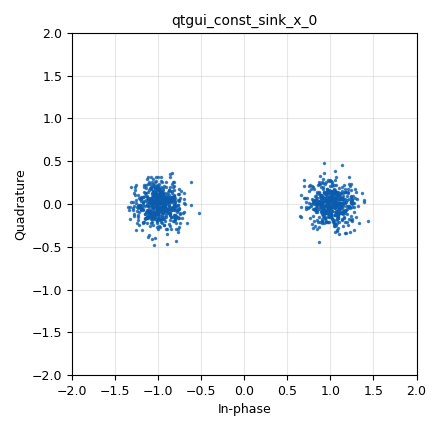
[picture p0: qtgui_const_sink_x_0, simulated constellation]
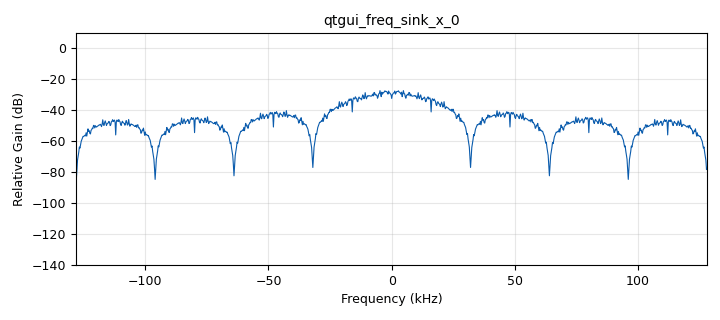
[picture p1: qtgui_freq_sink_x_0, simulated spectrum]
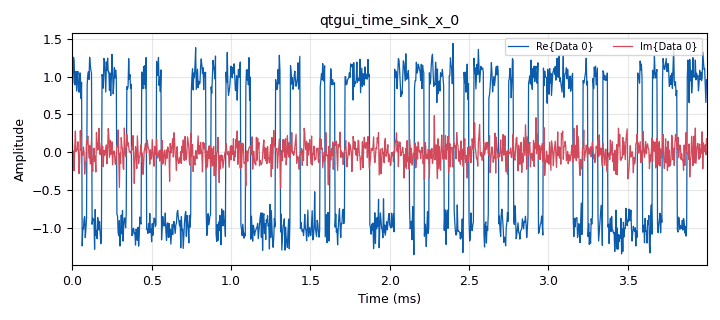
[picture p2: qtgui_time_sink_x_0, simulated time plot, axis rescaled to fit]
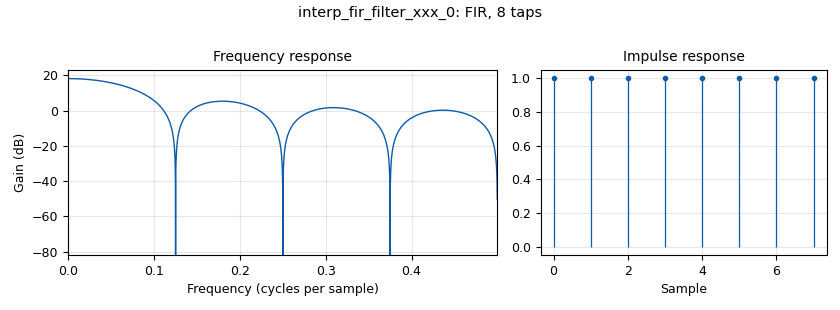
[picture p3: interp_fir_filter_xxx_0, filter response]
options:
  parameters:
    author: radiogis_director
    generate_options: qt_gui
    id: top_block
    output_language: python
    title: top_block
  states: {}

blocks:
- name: M
  id: variable
  parameters:
    value: len(tabla_de_verdad_constelacion )
  states: {}
- name: Rb
  id: variable
  parameters:
    value: Rs*bps
  states: {}
- name: Rs
  id: variable
  parameters:
    value: '32000'
  states: {}
- name: Sps
  id: variable
  parameters:
    value: '8'
  states: {}
- name: bps
  id: variable
  parameters:
    value: int(math.log(M,2))
  states: {}
- name: fc
  id: variable
  parameters:
    value: 500e3
  states: {}
- name: h
  id: variable
  parameters:
    value: '[1]*Sps'
  states: {}
- name: rx_lp_cutoff
  id: variable
  parameters:
    value: 60e3
  states: {}
- name: rx_lp_trans
  id: variable
  parameters:
    value: 20e3
  states: {}
- name: samp_rate
  id: variable
  parameters:
    value: Rs*Sps
  states: {}
- name: samp_rate_0
  id: variable
  parameters:
    value: 256e3
  states: {}
- name: samp_rate_tx
  id: variable
  parameters:
    value: samp_rate_0 * Sps
  states: {}
- name: symbolrate
  id: variable
  parameters:
    value: samp_rate/Sps
  states: {}
- name: tabla_de_verdad_constelacion
  id: variable
  parameters:
    value: (1+0j, -1+0j)
  states: {}
- name: tx_bp_highcut
  id: variable
  parameters:
    value: fc + 80e3
  states: {}
- name: tx_bp_lowcut
  id: variable
  parameters:
    value: fc - 80e3
  states: {}
- name: tx_bp_trans
  id: variable
  parameters:
    value: 20e3
  states: {}
- name: analog_noise_source_x_0
  id: analog_noise_source_x
  parameters:
    amp: '0.2'
    noise_type: analog.GR_GAUSSIAN
    seed: '0'
    type: complex
  states: {}
- name: analog_random_source_x_0
  id: analog_random_source_x
  parameters:
    max: '2'
    min: '0'
    num_samps: '1000'
    repeat: 'True'
    type: byte
  states: {}
- name: blocks_add_xx_0
  id: blocks_add_xx
  parameters:
    type: complex
  states: {}
- name: blocks_pack_k_bits_bb_0
  id: blocks_pack_k_bits_bb
  parameters:
    k: bps
  states: {}
- name: blocks_packed_to_unpacked_xx_0
  id: blocks_packed_to_unpacked_xx
  parameters:
    bits_per_chunk: bps
    endianness: gr.GR_MSB_FIRST
    type: byte
  states: {state: disabled}
- name: digital_chunks_to_symbols_xx_0
  id: digital_chunks_to_symbols_xx
  parameters:
    dimension: '1'
    in_type: byte
    out_type: complex
    symbol_table: tabla_de_verdad_constelacion
  states: {}
- name: import_0
  id: import
  parameters:
    imports: import math
  states: {}
- name: interp_fir_filter_xxx_0
  id: interp_fir_filter_xxx
  parameters:
    interp: Sps
    taps: h
    type: ccf
  states: {}
- name: qtgui_const_sink_x_0
  id: qtgui_const_sink_x
  parameters:
    size: '1024'
    type: complex
  states: {}
- name: qtgui_freq_sink_x_0
  id: qtgui_freq_sink_x
  parameters:
    average: '0.05'
    bw: samp_rate
    fc: '0'
    fftsize: '1024'
    type: complex
  states: {}
- name: qtgui_time_sink_x_0
  id: qtgui_time_sink_x
  parameters:
    size: '1024'
    srate: samp_rate
    type: complex
  states: {}
- name: virtual_sink_0
  id: virtual_sink
  parameters:
    stream_id: p1
  states: {}
- name: virtual_sink_0_0
  id: virtual_sink
  parameters:
    stream_id: p0
  states: {}
- name: virtual_source_0
  id: virtual_source
  parameters:
    stream_id: p1
  states: {}
- name: virtual_source_0_0
  id: virtual_source
  parameters:
    stream_id: p0
  states: {}

connections:
- [analog_noise_source_x_0, '0', blocks_add_xx_0, '0']
- [analog_random_source_x_0, '0', blocks_pack_k_bits_bb_0, '0']
- [blocks_add_xx_0, '0', virtual_sink_0, '0']
- [blocks_pack_k_bits_bb_0, '0', digital_chunks_to_symbols_xx_0, '0']
- [digital_chunks_to_symbols_xx_0, '0', interp_fir_filter_xxx_0, '0']
- [interp_fir_filter_xxx_0, '0', blocks_add_xx_0, '1']
- [interp_fir_filter_xxx_0, '0', virtual_sink_0_0, '0']
- [virtual_source_0, '0', qtgui_const_sink_x_0, '0']
- [virtual_source_0, '0', qtgui_time_sink_x_0, '0']
- [virtual_source_0_0, '0', qtgui_freq_sink_x_0, '0']

metadata:
  file_format: 1
  grc_version: 3.10.12.0
